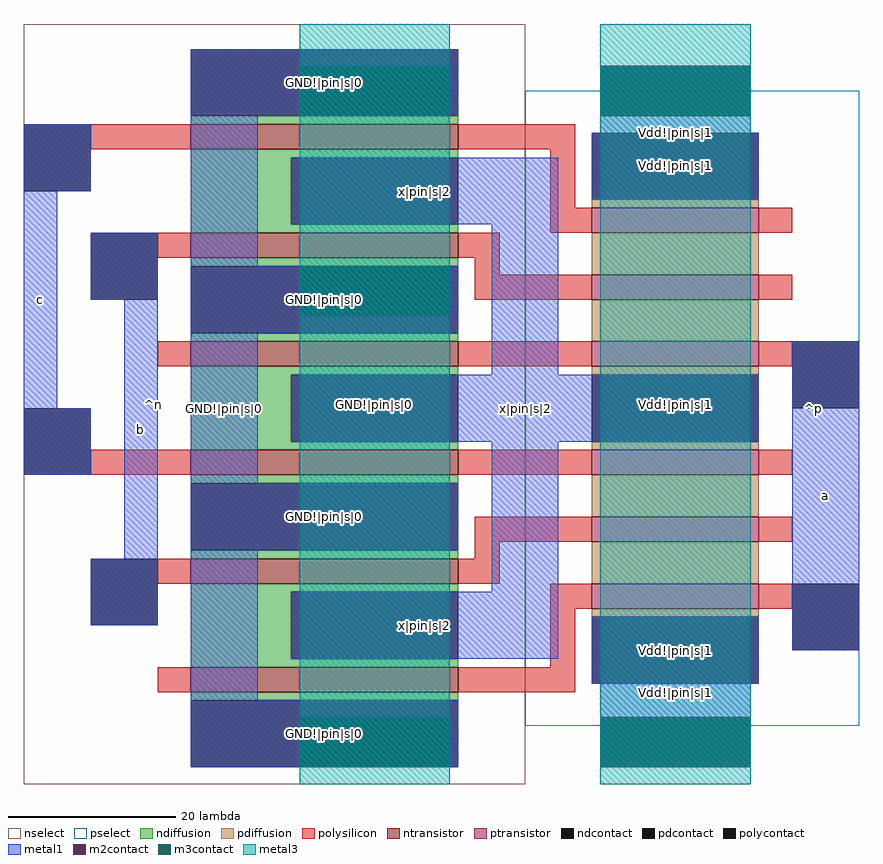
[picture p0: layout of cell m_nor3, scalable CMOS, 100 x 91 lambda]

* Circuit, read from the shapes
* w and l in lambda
.subckt m_nor3 GND!|pin|s|0 Vdd!|pin|s|1 a b c x|pin|s|2
M1 x|pin|s|2 a GND!|pin|s|0 VSUBS nfet w=32 l=3 m=2
M2 GND!|pin|s|0 b x|pin|s|2 VSUBS nfet w=32 l=3 m=2
M3 x|pin|s|2 c GND!|pin|s|0 VSUBS nfet w=32 l=3 m=2
M4 n1 a Vdd!|pin|s|1 NWELL pfet w=20 l=3
M5 n2 b n1 NWELL pfet w=20 l=3
M6 x|pin|s|2 c n2 NWELL pfet w=20 l=3
M7 n3 a x|pin|s|2 NWELL pfet w=20 l=3
M8 n4 b n3 NWELL pfet w=20 l=3
M9 Vdd!|pin|s|1 c n4 NWELL pfet w=20 l=3
.ends

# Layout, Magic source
magic
tech scmos
<< nselect >>
rect -60 -75 0 16
<< pselect >>
rect 0 -68 40 8
<< ndiffusion >>
rect -40 4 -8 5
rect -40 0 -8 1
rect -40 -8 -28 0
rect -40 -9 -8 -8
rect -40 -13 -8 -12
rect -40 -22 -8 -21
rect -40 -26 -8 -25
rect -40 -34 -28 -26
rect -40 -35 -8 -34
rect -40 -39 -8 -38
rect -40 -48 -8 -47
rect -40 -52 -8 -51
rect -40 -60 -28 -52
rect -40 -61 -8 -60
rect -40 -65 -8 -64
<< pdiffusion >>
rect 8 -6 28 -5
rect 8 -14 28 -9
rect 8 -22 28 -17
rect 8 -26 28 -25
rect 8 -35 28 -34
rect 8 -43 28 -38
rect 8 -51 28 -46
rect 8 -55 28 -54
<< ntransistor >>
rect -40 1 -8 4
rect -40 -12 -8 -9
rect -40 -25 -8 -22
rect -40 -38 -8 -35
rect -40 -51 -8 -48
rect -40 -64 -8 -61
<< ptransistor >>
rect 8 -9 28 -6
rect 8 -17 28 -14
rect 8 -25 28 -22
rect 8 -38 28 -35
rect 8 -46 28 -43
rect 8 -54 28 -51
<< polysilicon >>
rect -52 1 -40 4
rect -8 1 6 4
rect 3 -6 6 1
rect 3 -9 8 -6
rect 28 -9 32 -6
rect -44 -12 -40 -9
rect -8 -12 -3 -9
rect -6 -14 -3 -12
rect -6 -17 8 -14
rect 28 -17 32 -14
rect -44 -25 -40 -22
rect -8 -25 8 -22
rect 28 -25 32 -22
rect -52 -38 -40 -35
rect -8 -38 8 -35
rect 28 -38 32 -35
rect -6 -46 8 -43
rect 28 -46 32 -43
rect -6 -48 -3 -46
rect -44 -51 -40 -48
rect -8 -51 -3 -48
rect 3 -54 8 -51
rect 28 -54 32 -51
rect 3 -61 6 -54
rect -44 -64 -40 -61
rect -8 -64 6 -61
<< ndcontact >>
rect -40 5 -8 13
rect -28 -8 -8 0
rect -40 -21 -8 -13
rect -28 -34 -8 -26
rect -40 -47 -8 -39
rect -28 -60 -8 -52
rect -40 -73 -8 -65
<< pdcontact >>
rect 8 -5 28 3
rect 8 -34 28 -26
rect 8 -63 28 -55
<< polycontact >>
rect -60 -4 -52 4
rect -52 -17 -44 -9
rect -60 -38 -52 -30
rect 32 -30 40 -22
rect -52 -56 -44 -48
rect 32 -59 40 -51
<< metal1 >>
rect -40 11 -8 13
rect -40 5 -27 11
rect -9 5 -8 11
rect -60 -4 -52 4
rect -60 -30 -56 -4
rect -52 -17 -44 -9
rect -60 -38 -52 -30
rect -48 -48 -44 -17
rect -52 -56 -44 -48
rect -40 -13 -32 5
rect 9 3 27 5
rect -28 -8 4 0
rect 8 -5 28 3
rect -40 -19 -27 -13
rect -9 -19 -8 -13
rect -40 -21 -8 -19
rect -40 -39 -32 -21
rect -4 -26 4 -8
rect -28 -34 28 -26
rect -40 -47 -8 -39
rect -40 -65 -32 -47
rect -4 -52 4 -34
rect -28 -60 4 -52
rect 8 -63 28 -55
rect 32 -59 40 -22
rect -40 -67 -8 -65
rect -40 -73 -27 -67
rect -9 -73 -8 -67
rect 9 -67 27 -63
<< m2contact >>
rect -27 5 -9 11
rect 9 5 27 11
rect -27 -19 -9 -13
rect -27 -73 -9 -67
rect 9 -73 27 -67
<< m3contact >>
rect -27 5 -9 11
rect 9 5 27 11
rect -27 -19 -9 -13
rect -27 -73 -9 -67
rect 9 -73 27 -67
<< metal3 >>
rect -27 -75 -9 16
rect 9 -75 27 16
<< labels >>
rlabel metal1 32 -59 40 -22 7 a
rlabel metal1 -48 -56 -44 -9 1 b
rlabel metal1 -60 -38 -56 4 3 c
rlabel space -61 -75 -28 16 7 ^n
rlabel space 28 -68 41 8 3 ^p
rlabel metal3 -27 -75 -9 16 1 GND!|pin|s|0
rlabel metal1 -40 5 -8 13 1 GND!|pin|s|0
rlabel metal1 -40 -21 -8 -13 1 GND!|pin|s|0
rlabel metal1 -40 -47 -8 -39 1 GND!|pin|s|0
rlabel metal1 -40 -73 -8 -65 1 GND!|pin|s|0
rlabel metal1 -40 -73 -32 13 1 GND!|pin|s|0
rlabel metal3 9 -75 27 16 1 Vdd!|pin|s|1
rlabel metal1 9 -73 27 -55 1 Vdd!|pin|s|1
rlabel metal1 9 -5 27 11 1 Vdd!|pin|s|1
rlabel metal1 8 -5 28 3 1 Vdd!|pin|s|1
rlabel metal1 8 -63 28 -55 1 Vdd!|pin|s|1
rlabel metal1 -4 -60 4 0 1 x|pin|s|2
rlabel metal1 -28 -8 4 0 1 x|pin|s|2
rlabel metal1 -28 -60 4 -52 1 x|pin|s|2
rlabel metal1 -28 -34 28 -26 1 x|pin|s|2
<< end >>
